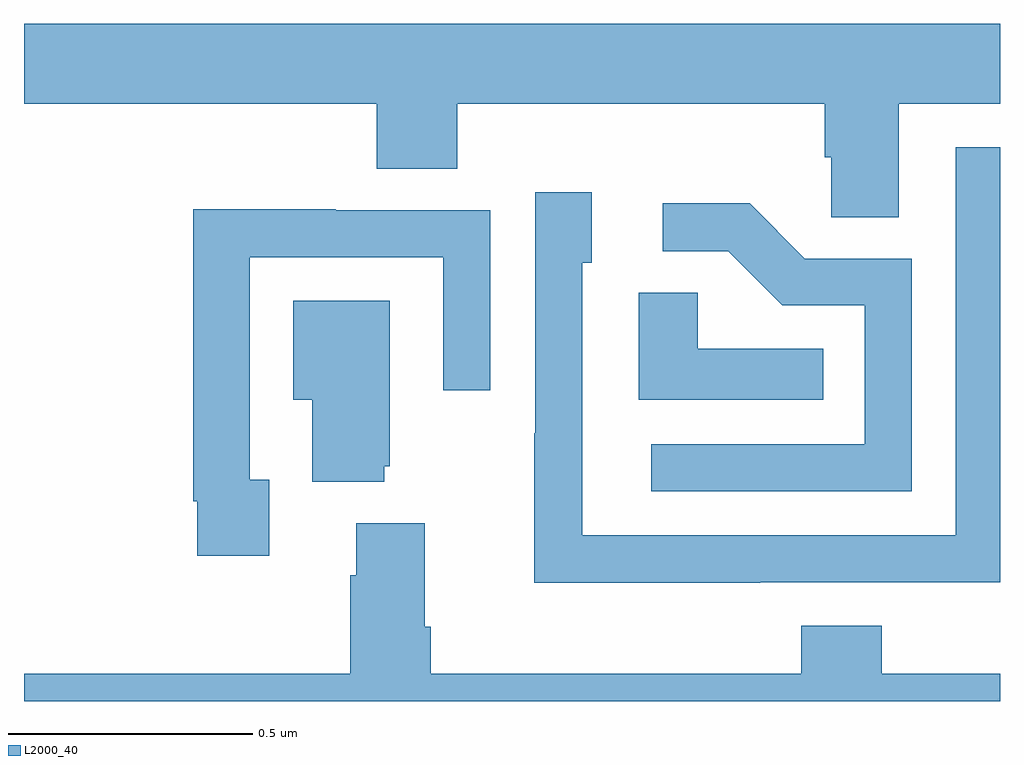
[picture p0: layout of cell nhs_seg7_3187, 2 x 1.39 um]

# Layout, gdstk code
import gdstk
lib = gdstk.Library(unit=1e-6, precision=1e-09)
def P(c, l, *ps):  # polygons
    for p in ps: c.add(gdstk.Polygon(p, *l))
L2000_40 = (2000, 40)

nhs_seg7_3187 = lib.new_cell('nhs_seg7_3187')
P(nhs_seg7_3187, L2000_40, [(156.793,1059.224),(157,1059.224),(157,1059.388),(155,1059.388),(155,1059.224),(155.723,1059.224),(155.723,1059.091),(155.888,1059.091),(155.888,1059.224),(156.641,1059.224),(156.641,1059.115),(156.654,1059.115),(156.654,1058.992),(156.793,1058.992)],
  [(156.509,1058.244),(157,1058.244),(157,1059.135),(156.909,1059.135),(156.909,1058.34),(156.144,1058.34),(156.144,1058.898),(156.163,1058.898),(156.163,1059.043),(156.048,1059.043),(156.048,1058.549),(156.046,1058.549),(156.046,1058.243),(156.509,1058.243)],
  [(156.819,1058.907),(156.6,1058.907),(156.487,1059.02),(156.309,1059.02),(156.309,1058.922),(156.443,1058.922),(156.554,1058.811),(156.723,1058.811),(156.723,1058.526),(156.285,1058.526),(156.285,1058.43),(156.819,1058.43)],
  [(155.503,1058.454),(155.463,1058.454),(155.463,1058.91),(155.859,1058.91),(155.859,1058.637),(155.955,1058.637),(155.955,1059.006),(155.639,1059.006),(155.639,1059.008),(155.347,1059.008),(155.347,1058.41),(155.355,1058.41),(155.355,1058.298),(155.503,1058.298)],
  [(156.638,1058.722),(156.381,1058.722),(156.381,1058.837),(156.26,1058.837),(156.26,1058.618),(156.638,1058.618)],
  [(155.738,1058.481),(155.749,1058.481),(155.749,1058.821),(155.552,1058.821),(155.552,1058.618),(155.591,1058.618),(155.591,1058.45),(155.738,1058.45)],
  [(155.834,1058.152),(155.821,1058.152),(155.821,1058.365),(155.681,1058.365),(155.681,1058.258),(155.669,1058.258),(155.669,1058.056),(155,1058.056),(155,1058),(157,1058),(157,1058.056),(156.758,1058.056),(156.758,1058.155),(156.593,1058.155),(156.593,1058.056),(155.834,1058.056)])

lib.write_gds('nhs_seg7_3187.gds')
